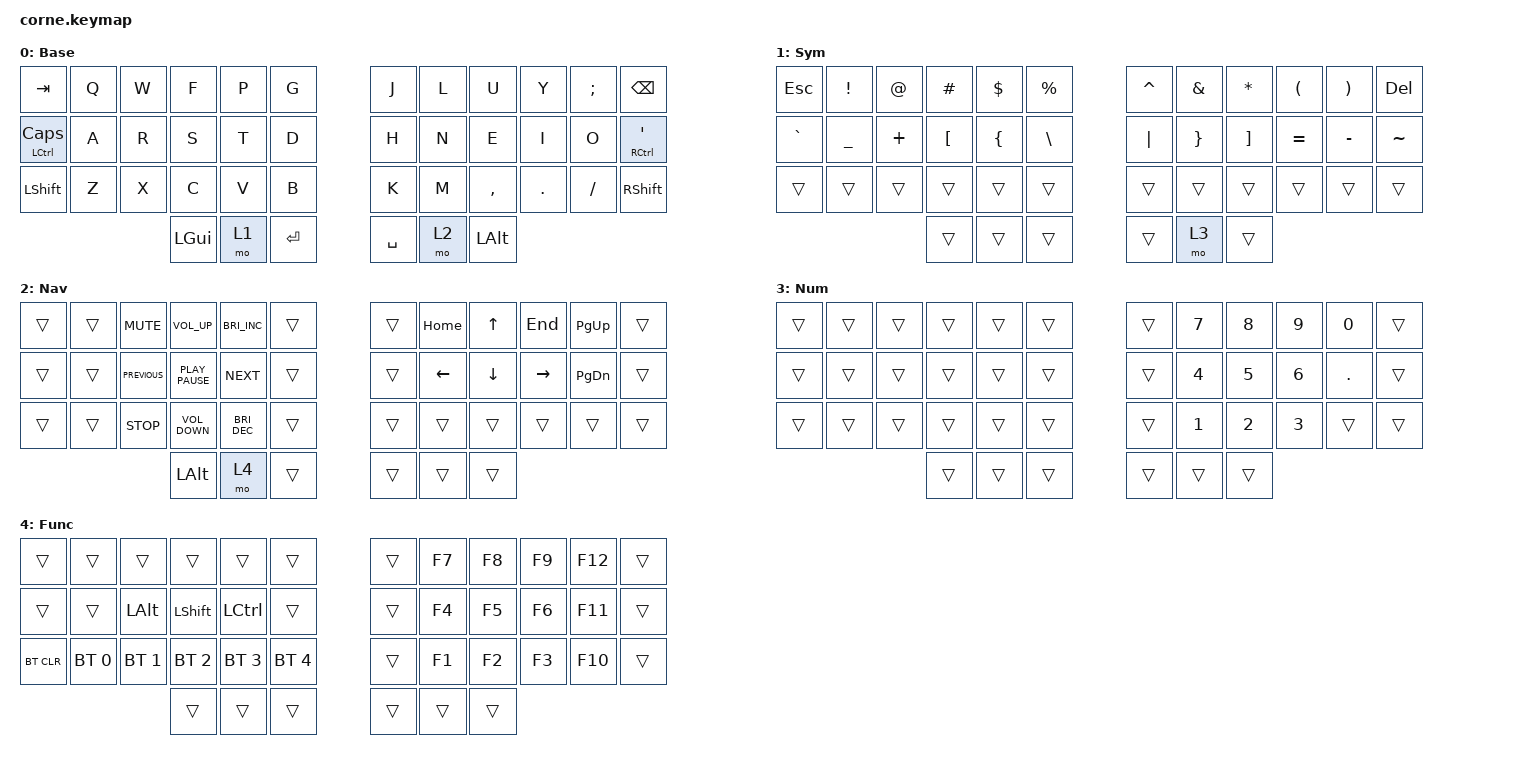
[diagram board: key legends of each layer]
/*
 * Copyright (c) 2020 The ZMK Contributors
 *
 * SPDX-License-Identifier: MIT
 */

#include <behaviors.dtsi>
#include <dt-bindings/zmk/bt.h>
#include <dt-bindings/zmk/keys.h>

/ {
    keymap {
        compatible = "zmk,keymap";

        default_layer {
            // -----------------------------------------------------------------------------------------
            // |  TAB |  Q  |  W  |  E  |  R  |  T  |   |  Y  |  U   |  I  |  O  |  P  | BKSP |
            // | CTRL |  A  |  S  |  D  |  F  |  G  |   |  H  |  J   |  K  |  L  |  ;  |  '   |
            // | SHFT |  Z  |  X  |  C  |  V  |  B  |   |  N  |  M   |  ,  |  .  |  /  | ESC  |
            //                    | GUI | LWR | SPC |   | ENT | RSE  | ALT |

            display-name = "Base";
            bindings = <
&kp TAB                    &kp Q  &kp W  &kp F     &kp P  &kp G        &kp J      &kp L  &kp U         &kp Y    &kp SEMICOLON  &kp BSPC
&mt LEFT_CONTROL CAPSLOCK  &kp A  &kp R  &kp S     &kp T  &kp D        &kp H      &kp N  &kp E         &kp I    &kp O          &mt RIGHT_CONTROL SQT
&kp LSHFT                  &kp Z  &kp X  &kp C     &kp V  &kp B        &kp K      &kp M  &kp COMMA     &kp DOT  &kp FSLH       &kp RIGHT_SHIFT
                                         &kp LGUI  &mo 1  &kp ENTER    &kp SPACE  &mo 2  &kp LEFT_ALT
            >;
        };

        lower_layer {
            // -----------------------------------------------------------------------------------------
            // |  TAB |  1  |  2  |  3  |  4  |  5  |   |  6  |  7  |  8  |  9  |  0  | BKSP |
            // | BTCLR| BT1 | BT2 | BT3 | BT4 | BT5 |   | LFT | DWN |  UP | RGT |     |      |
            // | SHFT |     |     |     |     |     |   |     |     |     |     |     |      |
            //                    | GUI |     | SPC |   | ENT |     | ALT |

            display-name = "Sym";
            bindings = <
&kp ESCAPE  &kp EXCLAMATION  &kp AT_SIGN  &kp HASH          &kp DOLLAR      &kp PERCENT      &kp CARET  &kp AMPERSAND    &kp ASTERISK       &kp LEFT_PARENTHESIS  &kp RIGHT_PARENTHESIS  &kp DELETE
&kp GRAVE   &kp UNDERSCORE   &kp PLUS     &kp LEFT_BRACKET  &kp LEFT_BRACE  &kp BACKSLASH    &kp PIPE   &kp RIGHT_BRACE  &kp RIGHT_BRACKET  &kp EQUAL             &kp MINUS              &kp TILDE
&trans      &trans           &trans       &trans            &trans          &trans           &trans     &trans           &trans             &trans                &trans                 &trans
                                          &trans            &trans          &trans           &trans     &mo 3            &trans
            >;
        };

        raise_layer {
            // -----------------------------------------------------------------------------------------
            // |  TAB |  !  |  @  |  #  |  $  |  %  |   |  ^  |  &  |  *  |  (  |  )  | BKSP |
            // | CTRL |     |     |     |     |     |   |  -  |  =  |  [  |  ]  |  \  |  `   |
            // | SHFT |     |     |     |     |     |   |  _  |  +  |  {  |  }  | "|" |  ~   |
            //                    | GUI |     | SPC |   | ENT |     | ALT |

            display-name = "Nav";
            bindings = <
&trans  &trans  &kp K_MUTE      &kp C_VOLUME_UP    &kp C_BRIGHTNESS_INC  &trans    &trans  &kp HOME        &kp UP_ARROW    &kp END          &kp PAGE_UP    &trans
&trans  &trans  &kp C_PREVIOUS  &kp K_PLAY_PAUSE   &kp C_NEXT            &trans    &trans  &kp LEFT_ARROW  &kp DOWN_ARROW  &kp RIGHT_ARROW  &kp PAGE_DOWN  &trans
&trans  &trans  &kp C_STOP      &kp C_VOLUME_DOWN  &kp C_BRIGHTNESS_DEC  &trans    &trans  &trans          &trans          &trans           &trans         &trans
                                &kp LEFT_ALT       &mo 4                 &trans    &trans  &trans          &trans
            >;
        };

        num_layer {
            display-name = "Num";
            bindings = <
&trans  &trans  &trans  &trans  &trans  &trans    &trans  &kp NUMBER_7  &kp NUMBER_8  &kp NUMBER_9  &kp NUMBER_0  &trans
&trans  &trans  &trans  &trans  &trans  &trans    &trans  &kp NUMBER_4  &kp NUMBER_5  &kp NUMBER_6  &kp DOT       &trans
&trans  &trans  &trans  &trans  &trans  &trans    &trans  &kp NUMBER_1  &kp NUMBER_2  &kp NUMBER_3  &trans        &trans
                        &trans  &trans  &trans    &trans  &trans        &trans
            >;
        };

        func_layer {
                display-name = "Func";
            bindings = <
&trans      &trans        &trans        &trans          &trans            &trans          &trans  &kp F7  &kp F8  &kp F9  &kp F12  &trans
&trans      &trans        &kp LEFT_ALT  &kp LEFT_SHIFT  &kp LEFT_CONTROL  &trans          &trans  &kp F4  &kp F5  &kp F6  &kp F11  &trans
&bt BT_CLR  &bt BT_SEL 0  &bt BT_SEL 1  &bt BT_SEL 2    &bt BT_SEL 3      &bt BT_SEL 4    &trans  &kp F1  &kp F2  &kp F3  &kp F10  &trans
                                        &trans          &trans            &trans          &trans  &trans  &trans
            >;
        };
    };
};
